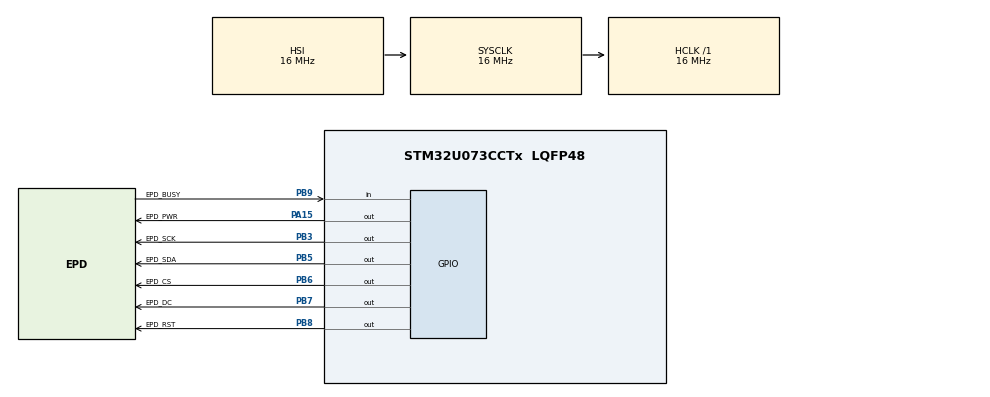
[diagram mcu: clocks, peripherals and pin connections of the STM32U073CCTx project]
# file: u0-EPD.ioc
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Mcu.Family=STM32U0
Mcu.Name=STM32U073CCTx
Mcu.Package=LQFP48
NVIC.PriorityGroup=NVIC_PRIORITYGROUP_2
PA13\ (SWDIO).GPIO_Label=SWDIO
PA13\ (SWDIO).Mode=Serial_Wire
PA13\ (SWDIO).Signal=DEBUG_JTMS-SWDIO
PA14\ (SWCLK).GPIO_Label=SWCLK
PA14\ (SWCLK).Mode=Serial_Wire
PA14\ (SWCLK).Signal=DEBUG_JTCK-SWCLK
PA15.GPIO_Label=EPD_PWR
PA15.Signal=GPIO_Output
PB3.GPIO_Label=EPD_SCK
PB3.GPIO_Speed=GPIO_SPEED_FREQ_HIGH
PB3.Signal=GPIO_Output
PB5.GPIO_Label=EPD_SDA
PB5.GPIO_Speed=GPIO_SPEED_FREQ_HIGH
PB5.Signal=GPIO_Output
PB6.GPIO_Label=EPD_CS
PB6.Signal=GPIO_Output
PB7.GPIO_Label=EPD_DC
PB7.Signal=GPIO_Output
PB8.GPIO_Label=EPD_RST
PB8.Signal=GPIO_Output
PB9.GPIO_Label=EPD_BUSY
PB9.Signal=GPIO_Input
ProjectManager.HeapSize=0x200
ProjectManager.StackSize=0x400
ProjectManager.TargetToolchain=STM32CubeIDE
RCC.AHBFreq_Value=16000000
RCC.CortexFreq_Value=16000000
RCC.HCLKFreq_Value=16000000
RCC.HSE_VALUE=4000000
RCC.HSI48_VALUE=48000000
RCC.HSI_VALUE=16000000
RCC.LSE_VALUE=32768
RCC.MSI_VALUE=4000000
RCC.SYSCLKFreq_VALUE=16000000
RCC.VCOOutputFreq_Value=64000000
VP_PWR_VS_SECSignals.Mode=Security/Privilege
board=custom

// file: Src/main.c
/* USER CODE BEGIN Header */
/**
  ******************************************************************************
  * @file           : main.c
  * @brief          : Main program body
  ******************************************************************************
  * @attention
  *
  * Copyright (c) 2026 STMicroelectronics.
  * All rights reserved.
  *
  * This software is licensed under terms that can be found in the LICENSE file
  * in the root directory of this software component.
  * If no LICENSE file comes with this software, it is provided AS-IS.
  *
  ******************************************************************************
  */
/* USER CODE END Header */
#include "main.h"

/* USER CODE BEGIN Includes */
//EPD
#include "Ap_29demo.h"
#include "Display_EPD_W21.h"
#include "Display_EPD_W21_spi.h"
#include "fonts.h"
#include "GUI_Paint.h"

#if 1
   unsigned char BlackImage[EPD_ARRAY];//Define canvas space
#endif
//Tips//
/*
1.Flickering is normal when EPD is performing a full screen update to clear ghosting from the previous image so to ensure better clarity and legibility for the new image.
2.There will be no flicker when EPD performs a partial refresh.
3.Please make sue that EPD enters sleep mode when update is completed and always leave the sleep mode command. Otherwise, this may result in a reduced lifespan of EPD.
4.Please refrain from inserting EPD to the FPC socket or unplugging it when the MCU is being powered to prevent potential damage.)
5.Re-initialization is required for every full screen update.
6.When porting the program, set the BUSY pin to input mode and other pins to output mode.
*/
/* USER CODE END Includes */

void SystemClock_Config(void);
static void MX_GPIO_Init(void);

int main(void)
{

  /* MCU Configuration--------------------------------------------------------*/

  /* Reset of all peripherals, Initializes the Flash interface and the Systick. */
  HAL_Init();

  /* Configure the system clock */
  SystemClock_Config();

  /* Initialize all configured peripherals */
  MX_GPIO_Init();
  /* USER CODE BEGIN 2 */

#if 1
	//Full screen refresh, fast refresh, and partial update demostration.
	EPD_Init(); //Full screen update initialization.
	EPD_WhiteScreen_White(); //Clear screen function.
	EPD_DeepSleep(); //Enter the sleep mode and please do not delete it, otherwise it will reduce the lifespan of the screen.
	HAL_Delay(2000); //Delay for 2s.

//	EPD_Init_Black_Border(); //Full screen update initialization.
//	EPD_WhiteScreen_White(); //Clear screen function.
//	EPD_DeepSleep(); //Enter the sleep mode and please do not delete it, otherwise it will reduce the lifespan of the screen.
//	HAL_Delay(8000); //Delay for 2s.

//	/************Full display(2s)*******************/
//	EPD_Init(); //Full screen updateinitialization.
//	EPD_WhiteScreen_ALL(gImage_1); //To Display one image using full screen refresh.
//	EPD_DeepSleep(); //Enter the sleep mode and please do not delete it, otherwise it will reduce the lifespan of the screen.
//	HAL_Delay(2000); //Delay for 2s.
//
//	/************Fast updatemode(1.5s)*******************/
	EPD_Init_Fast(); //Fast updateinitialization.
	EPD_WhiteScreen_ALL(gImage_2); //To display one image using fast refresh.
	EPD_DeepSleep(); //Enter the sleep mode and please do not delete it, otherwise it will reduce the lifespan of the screen.
	HAL_Delay(2000); //Delay for 2s.

	//	/************4 Gray updatemode*******************/
//	EPD_Init_4G(); //Fast updateinitialization.
//	EPD_WhiteScreen_ALL_4G(gImage_4G1); //To display one image using fast refresh.
//	HAL_Delay(5000);
//	EPD_WhiteScreen_ALL_4G(gImage_4G1);
//	HAL_Delay(5000);
//	EPD_WhiteScreen_ALL_4G(gImage_4G1);
//	HAL_Delay(5000);
//	EPD_WhiteScreen_ALL_4G(gImage_4G1);
//	EPD_DeepSleep(); //Enter the sleep mode and please do not delete it, otherwise it will reduce the lifespan of the screen.
//	HAL_Delay(2000); //Delay for 2s.

	#if 1
		//Partial updatedemostration.
		//Partial updatedemo support displaying a clock at 5 locations with 00:00.  If you need to perform partial updatemore than 5 locations, please use the feature of using partial updateat the full screen demo.
		//After 5 partial refreshes, implement a full screen updateto clear the ghosting caused by partial refreshes.
		//////////////////////Partial updatetime demo/////////////////////////////////////
		EPD_Init(); //Electronic paper initialization.
		EPD_SetRAMValue_BaseMap(gImage_basemap); //Please do not delete the background color function, otherwise it will cause unstable display during partial refresh.
		for(int i=0;i<6;i++)
		{
		  EPD_Dis_Part_Time(100,120,Num[1],Num[0],gImage_numdot,Num[0],Num[i],5,32,64); //x,y,DATA-A~E,number,Resolution 32*64
		}
		EPD_DeepSleep();  //Enter the sleep mode and please do not delete it, otherwise it will reduce the lifespan of the screen.
		HAL_Delay(2000);	//Delay for 2s.
		EPD_Init(); //Full screen updateinitialization.
		EPD_WhiteScreen_White(); //Clear screen function.
		EPD_DeepSleep(); //Enter the sleep mode and please do not delete it, otherwise it will reduce the lifespan of the screen.
		HAL_Delay(2000); //Delay for 2s.
	#endif

	#if 0
		//Demo of using partial updateto update the full screen, to enable this feature, please change 0 to 1.
		//After 5 partial refreshes, implement a full screen updateto clear the ghosting caused by partial refreshes.
		//////////////////////Partial updatetime demo/////////////////////////////////////
		EPD_Init(); //Full screen updateinitialization.
		EPD_WhiteScreen_White(); //Clear screen function.
		EPD_Dis_PartAll(gImage_p1);
		EPD_Dis_PartAll(gImage_p2);
		EPD_Dis_PartAll(gImage_p3);
		EPD_DeepSleep();//Enter the sleep mode and please do not delete it, otherwise it will reduce the lifespan of the screen.
		HAL_Delay(2000); //Delay for 2s.

		EPD_Init(); //Full screen updateinitialization.
		EPD_WhiteScreen_White(); //Clear screen function.
		EPD_DeepSleep(); //Enter the sleep mode and please do not delete it, otherwise it will reduce the lifespan of the screen.
		HAL_Delay(2000);	//Delay for 2s.
	#endif

	#if 0
		//Demonstration of full screen updatewith 180-degree rotation, to enable this feature, please change 0 to 1.
		/************Full display(2s)*******************/
		EPD_Init_180(); //Full screen updateinitialization.
		EPD_WhiteScreen_ALL(gImage_p1); //To Display one image using full screen refresh.
		EPD_DeepSleep(); //Enter the sleep mode and please do not delete it, otherwise it will reduce the lifespan of the screen.
		HAL_Delay(2000); //Delay for 2s.
	#endif

#endif

  /* USER CODE END 2 */

  /* Infinite loop */
  while (1)
  {

  }
}

void SystemClock_Config(void)
{
  RCC_OscInitTypeDef RCC_OscInitStruct = {0};
  RCC_ClkInitTypeDef RCC_ClkInitStruct = {0};

  /** Configure the main internal regulator output voltage
  */
  HAL_PWREx_ControlVoltageScaling(PWR_REGULATOR_VOLTAGE_SCALE2);

  /** Initializes the RCC Oscillators according to the specified parameters
  * in the RCC_OscInitTypeDef structure.
  */
  RCC_OscInitStruct.OscillatorType = RCC_OSCILLATORTYPE_HSI;
  RCC_OscInitStruct.HSIState = RCC_HSI_ON;
  RCC_OscInitStruct.HSICalibrationValue = RCC_HSICALIBRATION_DEFAULT;
  RCC_OscInitStruct.PLL.PLLState = RCC_PLL_NONE;
  if (HAL_RCC_OscConfig(&RCC_OscInitStruct) != HAL_OK)
  {
    Error_Handler();
  }

  /** Initializes the CPU, AHB and APB buses clocks
  */
  RCC_ClkInitStruct.ClockType = RCC_CLOCKTYPE_HCLK|RCC_CLOCKTYPE_SYSCLK
                              |RCC_CLOCKTYPE_PCLK1;
  RCC_ClkInitStruct.SYSCLKSource = RCC_SYSCLKSOURCE_HSI;
  RCC_ClkInitStruct.AHBCLKDivider = RCC_SYSCLK_DIV1;
  RCC_ClkInitStruct.APB1CLKDivider = RCC_HCLK_DIV1;

  if (HAL_RCC_ClockConfig(&RCC_ClkInitStruct, FLASH_LATENCY_1) != HAL_OK)
  {
    Error_Handler();
  }
}

static void MX_GPIO_Init(void)
{
  GPIO_InitTypeDef GPIO_InitStruct = {0};

  /* GPIO Ports Clock Enable */
  __HAL_RCC_GPIOC_CLK_ENABLE();
  __HAL_RCC_GPIOF_CLK_ENABLE();
  __HAL_RCC_GPIOA_CLK_ENABLE();
  __HAL_RCC_GPIOB_CLK_ENABLE();

  /*Configure GPIO pin Output Level */
  HAL_GPIO_WritePin(EPD_PWR_GPIO_Port, EPD_PWR_Pin, GPIO_PIN_RESET);

  /*Configure GPIO pin Output Level */
  HAL_GPIO_WritePin(GPIOB, EPD_SCK_Pin|EPD_SDA_Pin|EPD_CS_Pin|EPD_DC_Pin
                          |EPD_RST_Pin, GPIO_PIN_RESET);

  /*Configure GPIO pins : PC13 PC14 PC15 */
  GPIO_InitStruct.Pin = GPIO_PIN_13|GPIO_PIN_14|GPIO_PIN_15;
  GPIO_InitStruct.Mode = GPIO_MODE_ANALOG;
  GPIO_InitStruct.Pull = GPIO_NOPULL;
  HAL_GPIO_Init(GPIOC, &GPIO_InitStruct);

  /*Configure GPIO pins : PF0 PF1 PF2 PF3 */
  GPIO_InitStruct.Pin = GPIO_PIN_0|GPIO_PIN_1|GPIO_PIN_2|GPIO_PIN_3;
  GPIO_InitStruct.Mode = GPIO_MODE_ANALOG;
  GPIO_InitStruct.Pull = GPIO_NOPULL;
  HAL_GPIO_Init(GPIOF, &GPIO_InitStruct);

  /*Configure GPIO pins : PA0 PA1 PA2 PA3
                           PA4 PA5 PA6 PA7
                           PA8 PA9 PA10 PA11
                           PA12 */
  GPIO_InitStruct.Pin = GPIO_PIN_0|GPIO_PIN_1|GPIO_PIN_2|GPIO_PIN_3
                          |GPIO_PIN_4|GPIO_PIN_5|GPIO_PIN_6|GPIO_PIN_7
                          |GPIO_PIN_8|GPIO_PIN_9|GPIO_PIN_10|GPIO_PIN_11
                          |GPIO_PIN_12;
  GPIO_InitStruct.Mode = GPIO_MODE_ANALOG;
  GPIO_InitStruct.Pull = GPIO_NOPULL;
  HAL_GPIO_Init(GPIOA, &GPIO_InitStruct);

  /*Configure GPIO pins : PB0 PB1 PB2 PB10
                           PB11 PB12 PB13 PB14
                           PB15 PB4 */
  GPIO_InitStruct.Pin = GPIO_PIN_0|GPIO_PIN_1|GPIO_PIN_2|GPIO_PIN_10
                          |GPIO_PIN_11|GPIO_PIN_12|GPIO_PIN_13|GPIO_PIN_14
                          |GPIO_PIN_15|GPIO_PIN_4;
  GPIO_InitStruct.Mode = GPIO_MODE_ANALOG;
  GPIO_InitStruct.Pull = GPIO_NOPULL;
  HAL_GPIO_Init(GPIOB, &GPIO_InitStruct);

  /*Configure GPIO pin : EPD_PWR_Pin */
  GPIO_InitStruct.Pin = EPD_PWR_Pin;
  GPIO_InitStruct.Mode = GPIO_MODE_OUTPUT_PP;
  GPIO_InitStruct.Pull = GPIO_NOPULL;
  GPIO_InitStruct.Speed = GPIO_SPEED_FREQ_LOW;
  HAL_GPIO_Init(EPD_PWR_GPIO_Port, &GPIO_InitStruct);

  /*Configure GPIO pins : EPD_SCK_Pin EPD_SDA_Pin */
  GPIO_InitStruct.Pin = EPD_SCK_Pin|EPD_SDA_Pin;
  GPIO_InitStruct.Mode = GPIO_MODE_OUTPUT_PP;
  GPIO_InitStruct.Pull = GPIO_NOPULL;
  GPIO_InitStruct.Speed = GPIO_SPEED_FREQ_HIGH;
  HAL_GPIO_Init(GPIOB, &GPIO_InitStruct);

  /*Configure GPIO pins : EPD_CS_Pin EPD_DC_Pin EPD_RST_Pin */
  GPIO_InitStruct.Pin = EPD_CS_Pin|EPD_DC_Pin|EPD_RST_Pin;
  GPIO_InitStruct.Mode = GPIO_MODE_OUTPUT_PP;
  GPIO_InitStruct.Pull = GPIO_NOPULL;
  GPIO_InitStruct.Speed = GPIO_SPEED_FREQ_LOW;
  HAL_GPIO_Init(GPIOB, &GPIO_InitStruct);

  /*Configure GPIO pin : EPD_BUSY_Pin */
  GPIO_InitStruct.Pin = EPD_BUSY_Pin;
  GPIO_InitStruct.Mode = GPIO_MODE_INPUT;
  GPIO_InitStruct.Pull = GPIO_NOPULL;
  HAL_GPIO_Init(EPD_BUSY_GPIO_Port, &GPIO_InitStruct);

}

void Error_Handler(void)
{
  __disable_irq();
  while (1)
  {
  }
}
